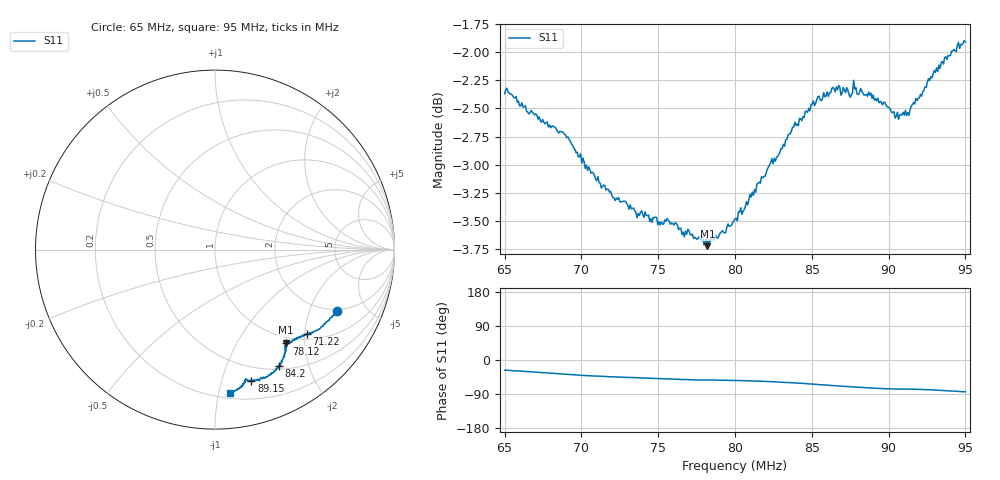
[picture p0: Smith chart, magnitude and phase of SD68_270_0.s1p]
! NanoVNA-App
! Date: 2025-08-09 13:32:02
! Start: 65MHz Stop: 95MHz Points: 401
! S-Parameter data: F S11
# Hz S RI R 50
!  Frequency  S11_Real  S11_Imag
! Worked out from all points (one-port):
!   401 points, 65 MHz to 95 MHz, reference 50 ohm
!   lowest |S11| = -3.7 dB at 78.2 MHz (marker M1), VSWR 4.73, Z = 45.3 - j81.6 ohm
!   |S11| at or under -10 dB: nowhere
!   S11 on the Smith chart (normalised r, x): 65 MHz: 1.90, -3.11; 71.22 MHz: 1.12, -2.04; 78.12 MHz: 0.89, -1.64; 84.2 MHz: 0.54, -1.56; 89.15 MHz: 0.36, -1.25; 95 MHz: 0.24, -1.08
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6.5e7  0.6791 -0.3442
6.53e7  0.6762 -0.3513
6.875e7  0.5852 -0.4398
7.01e7  0.5416 -0.4633
7.1225e7  0.5101 -0.4714
7.25e7  0.4794 -0.4845
7.5125e7  0.4339 -0.5046
7.625e7  0.4197 -0.5163
7.745e7  0.3972 -0.5227
7.8125e7  0.3971 -0.523
7.82e7  0.3944 -0.5181
8e7  0.3914 -0.5434
8.1725e7  0.3911 -0.5796
8.2775e7  0.378 -0.6054
8.375e7  0.3624 -0.6402
8.42e7  0.3578 -0.6504
8.51e7  0.3357 -0.6771
8.645e7  0.2914 -0.7075
8.75e7  0.2558 -0.7141
8.78e7  0.2464 -0.7242
8.915e7  0.203 -0.7299
8.9975e7  0.1787 -0.7293
9.0575e7  0.1716 -0.727
9.125e7  0.1712 -0.7268
9.1925e7  0.1664 -0.7393
9.2675e7  0.1531 -0.7564
9.38e7  0.1214 -0.7792
9.5e7  0.0849 -0.7982
